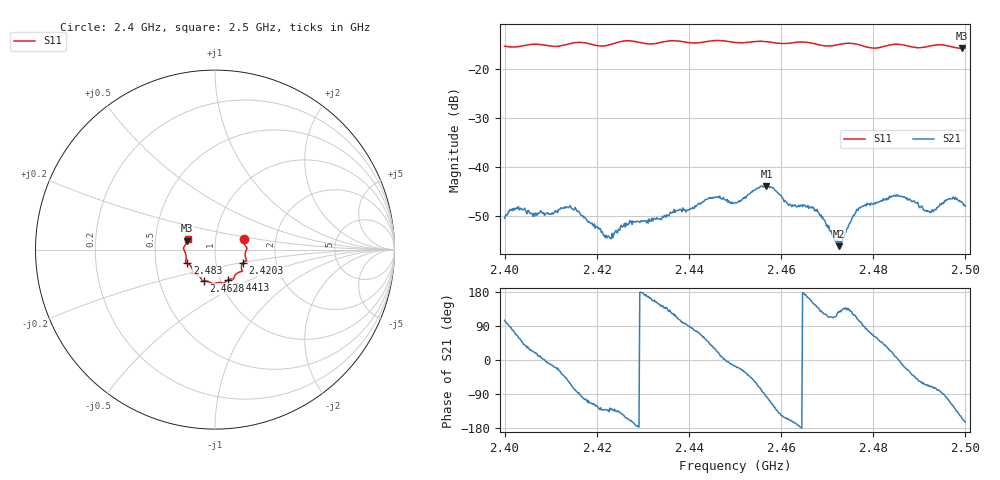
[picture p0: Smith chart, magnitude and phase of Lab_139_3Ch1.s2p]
# Hz S RI R 50
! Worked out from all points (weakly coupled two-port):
!   601 points, 2.4 GHz to 2.5 GHz, reference 50 ohm
!   highest |S21| = -43.82 dB at 2.4568 GHz (marker M1); lowest = -56.1 dB at 2.4725 GHz (marker M2)
!   lowest |S11| = -15.8 dB at 2.4993 GHz (marker M3), VSWR 1.39, Z = 36.5 + j3.71 ohm
!   |S11| at or under -10 dB: start of sweep to end of sweep
!   S12 and S22 are empty: the file has one direction only
!   S11 on the Smith chart (normalised r, x): 2.4 GHz: 1.37, +0.16; 2.4203 GHz: 1.35, -0.21; 2.4413 GHz: 1.09, -0.38; 2.4628 GHz: 0.83, -0.30; 2.483 GHz: 0.72, -0.11; 2.5 GHz: 0.73, +0.09
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2.4e9  0.1608 0.0567  -0.000766 0.00293  0 0  0 0
2.4025e9  0.1651 0.0301  0.00154 0.00352  0 0  0 0
2.413833e9  0.1722 -0.0502  0.00217 -0.0032  0 0  0 0
2.416667e9  0.1759 -0.0617  -0.000322 -0.00321  0 0  0 0
2.420333e9  0.1552 -0.0741  -0.00145 -0.00195  0 0  0 0
2.422667e9  0.1466 -0.0957  -0.00141 -0.00134  0 0  0 0
2.4275e9  0.1498 -0.1213  -0.00266 -0.000959  0 0  0 0
2.433333e9  0.1082 -0.1486  -0.00254 0.00156  0 0  0 0
2.441333e9  0.0742 -0.168  0.000931 0.00395  0 0  0 0
2.446167e9  0.0493 -0.1886  0.00465 0.00182  0 0  0 0
2.45e9  0.0292 -0.1839  0.00421 -0.00122  0 0  0 0
2.456833e9  -0.0162 -0.1889  -0.000753 -0.0064  0 0  0 0
2.462833e9  -0.0629 -0.1744  -0.0039 -0.00109  0 0  0 0
2.466667e9  -0.0743 -0.1674  -0.00356 0.00171  0 0  0 0
2.4725e9  -0.1148 -0.1347  -0.00096 0.00125  0 0  0 0
2.476833e9  -0.1245 -0.1253  -0.000972 0.00372  0 0  0 0
2.483e9  -0.1549 -0.0767  0.00402 0.00269  0 0  0 0
2.483333e9  -0.157 -0.0757  0.00418 0.00228  0 0  0 0
2.492167e9  -0.1706 -0.00564  0.00136 -0.00328  0 0  0 0
2.496833e9  -0.1676 0.0222  -0.00199 -0.00434  0 0  0 0
2.499333e9  -0.1544 0.0496  -0.00399 -0.00185  0 0  0 0
2.5e9  -0.1529 0.0585  -0.00386 -0.00114  0 0  0 0
